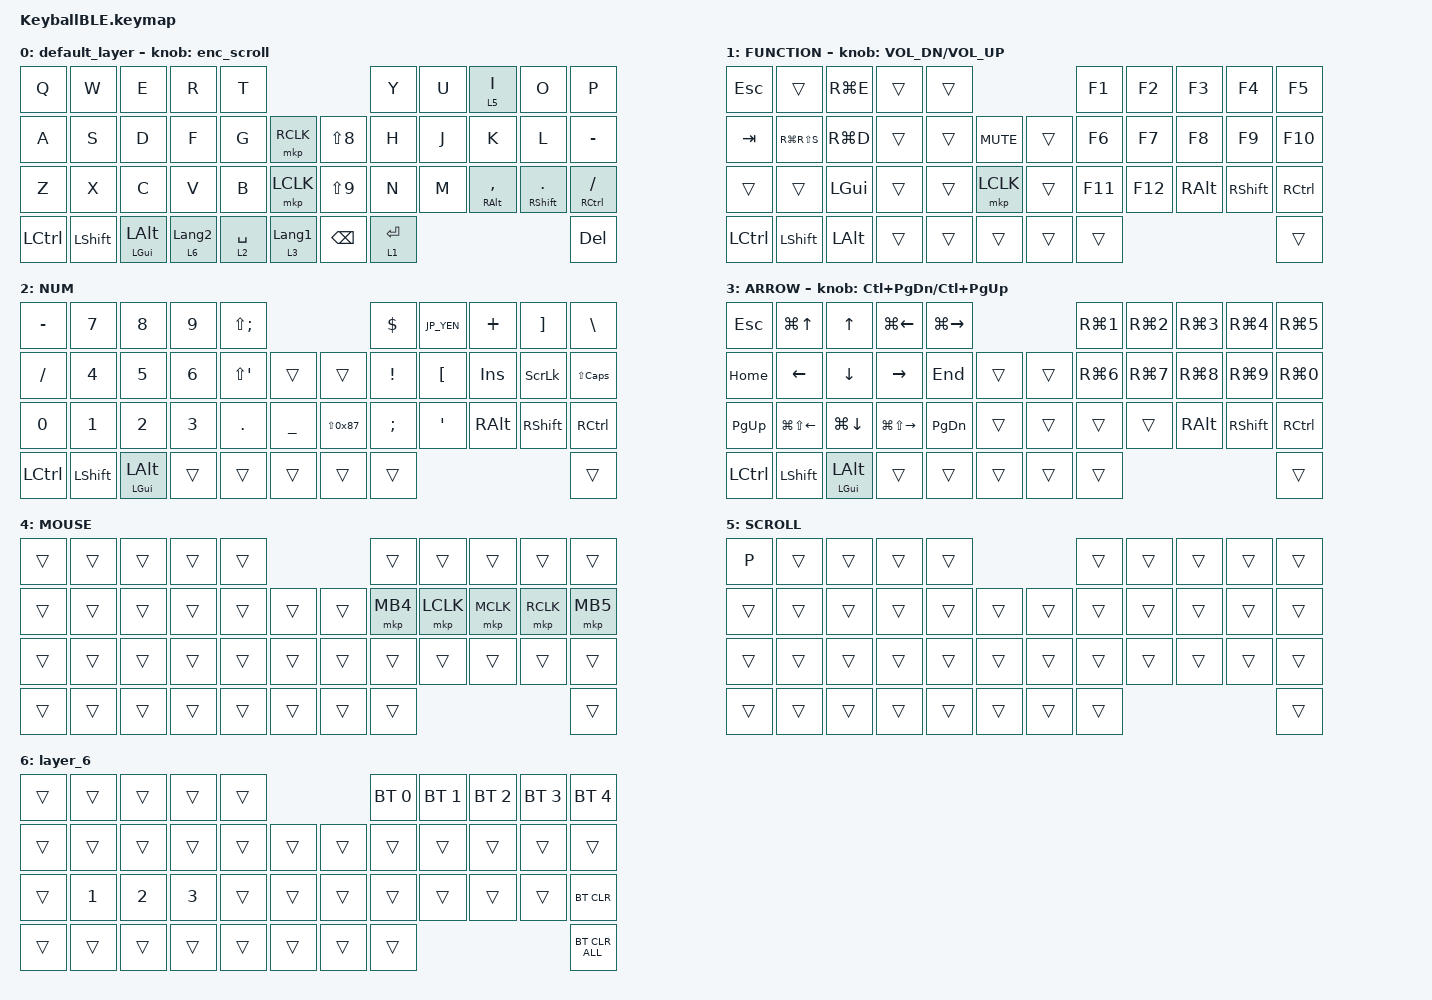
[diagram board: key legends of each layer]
#define ZMK_POINTING_DEFAULT_SCRL_VAL 6

#include <behaviors.dtsi>
#include <dt-bindings/zmk/bt.h>
#include <dt-bindings/zmk/keys.h>
#include <dt-bindings/zmk/pointing.h>

#define MOUSE 4
#define SCROLL 5
#define NUM 6
#define JP_YEN          0x89              // ¥
#define JP_UNDERSCORE   LS(0x87)          // _
#define JP_KANA         LANGUAGE_1        // かな
#define JP_EISU         LANGUAGE_2        // 英数

&mt {
    flavor = "balanced";
    quick-tap-ms = <0>;
};

&msc { time-to-max-speed-ms = <150>; };

/ {
    combos {
        compatible = "zmk,combos";

        int5 {
            bindings = <&kp INT_MUHENKAN>;
            key-positions = <24 23>;
        };

        int4 {
            bindings = <&kp INT_HENKAN>;
            key-positions = <31 32>;
        };

        fun {
            bindings = <&sl 1>;
            key-positions = <38 41>;
        };
    };

    macros {
        to_layer_0: to_layer_0 {
            compatible = "zmk,behavior-macro-one-param";
            #binding-cells = <1>;
            bindings = <&to 0 &macro_param_1to1 &kp MACRO_PLACEHOLDER>;
            label = "TO_LAYER_0";
        };
    };

    sensors = <&left_encoder>;

    behaviors {
        enc_scroll: enc_scroll {
            compatible = "zmk,behavior-sensor-rotate";
            #sensor-binding-cells = <0>;
            tap-ms = <80>;
            bindings = <&msc MOVE_Y(-2)>, <&msc MOVE_Y(2)>;
        };

        lt_to_layer_0: lt_to_layer_0 {
            compatible = "zmk,behavior-hold-tap";
            label = "LAYER_TAP_TO_0";
            bindings = <&mo>, <&to_layer_0>;

            #binding-cells = <2>;
            tapping-term-ms = <200>;
        };
    };

    keymap {
        compatible = "zmk,keymap";

        default_layer {
            bindings = <
&kp Q      &kp W           &kp E                  &kp R                     &kp T                                                     &kp Y                   &kp U  &lt 5 I              &kp O                   &kp P
&kp A      &kp S           &kp D                  &kp F                     &kp G                   &mkp RCLK          &kp LS(N8)     &kp H                   &kp J  &kp K                &kp L                   &kp MINUS
&kp Z      &kp X           &kp C                  &kp V                     &kp B                   &mkp LCLK          &kp LS(N9)     &kp N                   &kp M  &mt RIGHT_ALT COMMA  &mt RIGHT_SHIFT PERIOD  &mt RCTRL SLASH
&kp LCTRL  &kp LEFT_SHIFT  &mt LEFT_GUI LEFT_ALT  &lt_to_layer_0 6 JP_EISU  &lt_to_layer_0 2 SPACE  &lt 3 JP_KANA      &kp BACKSPACE  &lt_to_layer_0 1 ENTER                                                      &kp DELETE
            >;

             sensor-bindings = <&enc_scroll>;
        };

        FUNCTION {
            bindings = <
&kp ESCAPE        &trans          &kp RG(E)     &trans  &trans                          &kp F1   &kp F2   &kp F3         &kp F4           &kp F5
&kp TAB           &kp RG(RS(S))   &kp RG(D)     &trans  &trans  &kp C_MUTE      &trans  &kp F6   &kp F7   &kp F8         &kp F9           &kp F10
&trans            &trans          &kp LEFT_GUI  &trans  &trans  &mkp LCLK       &trans  &kp F11  &kp F12  &kp RIGHT_ALT  &kp RIGHT_SHIFT  &kp RCTRL
&kp LEFT_CONTROL  &kp LEFT_SHIFT  &kp LEFT_ALT  &trans  &trans  &trans          &trans  &trans                                            &trans
            >;

            sensor-bindings = <&inc_dec_kp C_VOL_DN C_VOL_UP>;
        };

        NUM {
            bindings = <
&kp MINUS         &kp N7          &kp N8                 &kp N9  &kp LS(SEMICOLON)                                     &kp DOLLAR       &kp JP_YEN        &kp PLUS       &kp RIGHT_BRACKET  &kp BACKSLASH
&kp SLASH         &kp N4          &kp N5                 &kp N6  &kp LS(APOSTROPHE)  &trans         &trans             &kp EXCLAMATION  &kp LEFT_BRACKET  &kp INSERT     &kp SCROLLLOCK     &kp LS(CAPS)
&kp N0            &kp N1          &kp N2                 &kp N3  &kp PERIOD          &kp UNDER      &kp JP_UNDERSCORE  &kp SEMICOLON    &kp APOS          &kp RIGHT_ALT  &kp RIGHT_SHIFT    &kp RIGHT_CONTROL
&kp LEFT_CONTROL  &kp LEFT_SHIFT  &mt LEFT_GUI LEFT_ALT  &trans  &trans              &trans         &trans             &trans                                                               &trans
            >;
        };

        ARROW {
            bindings = <
&kp ESCAPE        &kp LG(UP_ARROW)        &kp UP_ARROW           &kp LG(LEFT_ARROW)       &kp LG(RIGHT_ARROW)                      &kp RG(N1)  &kp RG(N2)  &kp RG(N3)     &kp RG(N4)       &kp RG(N5)
&kp HOME          &kp LEFT_ARROW          &kp DOWN_ARROW         &kp RIGHT_ARROW          &kp END              &trans      &trans  &kp RG(N6)  &kp RG(N7)  &kp RG(N8)     &kp RG(N9)       &kp RG(N0)
&kp PAGE_UP       &kp LG(LS(LEFT_ARROW))  &kp LG(DOWN_ARROW)     &kp LG(LS(RIGHT_ARROW))  &kp PAGE_DOWN        &trans      &trans  &trans      &trans      &kp RIGHT_ALT  &kp RIGHT_SHIFT  &kp RIGHT_CONTROL
&kp LEFT_CONTROL  &kp LEFT_SHIFT          &mt LEFT_GUI LEFT_ALT  &trans                   &trans               &trans      &trans  &trans                                                  &trans
            >;

            sensor-bindings = <&inc_dec_kp LC(PAGE_DOWN) LC(PAGE_UP)>;
        };

        MOUSE {
            bindings = <
&trans  &trans  &trans  &trans  &trans                      &trans    &trans     &trans     &trans     &trans
&trans  &trans  &trans  &trans  &trans  &trans      &trans  &mkp MB4  &mkp LCLK  &mkp MCLK  &mkp RCLK  &mkp MB5
&trans  &trans  &trans  &trans  &trans  &trans      &trans  &trans    &trans     &trans     &trans     &trans
&trans  &trans  &trans  &trans  &trans  &trans      &trans  &trans                                     &trans
            >;
        };

        SCROLL {
            bindings = <
&kp P   &trans  &trans  &trans  &trans                      &trans  &trans  &trans  &trans  &trans
&trans  &trans  &trans  &trans  &trans  &trans      &trans  &trans  &trans  &trans  &trans  &trans
&trans  &trans  &trans  &trans  &trans  &trans      &trans  &trans  &trans  &trans  &trans  &trans
&trans  &trans  &trans  &trans  &trans  &trans      &trans  &trans                          &trans
            >;
        };

        layer_6 {
            bindings = <
&trans  &trans        &trans        &trans        &trans                      &bt BT_SEL 0  &bt BT_SEL 1  &bt BT_SEL 2  &bt BT_SEL 3  &bt BT_SEL 4
&trans  &trans        &trans        &trans        &trans  &trans      &trans  &trans        &trans        &trans        &trans        &trans
&trans  &kp NUMBER_1  &kp NUMBER_2  &kp NUMBER_3  &trans  &trans      &trans  &trans        &trans        &trans        &trans        &bt BT_CLR
&trans  &trans        &trans        &trans        &trans  &trans      &trans  &trans                                                  &bt BT_CLR_ALL
            >;
        };
    };
};
